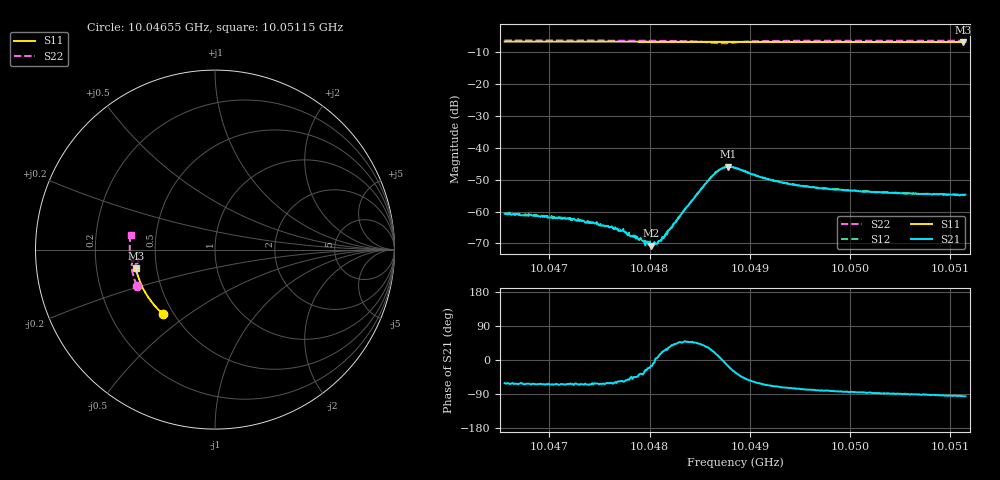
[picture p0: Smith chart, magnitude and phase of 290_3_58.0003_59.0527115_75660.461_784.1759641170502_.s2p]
#  HZ  S  RI  R  50.00
! Rohde & Schwarz Vector Network Analyzer
! Rohde-Schwarz,ZNB20-2Port,1311601062101988,3.16
! Created: UTC 3/21/2024, 1:03:15 AM
! freq[Hz]  re:S11  im:S11  re:S21  im:S21  re:S12  im:S12  re:S22  im:S22
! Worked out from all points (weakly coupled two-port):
!   401 points, 10.04655 GHz to 10.05115 GHz, reference 50 ohm
!   highest |S21| = -45.96 dB at 10.04878 GHz (marker M1); lowest = -70.7 dB at 10.04801 GHz (marker M2)
!   lowest |S11| = -6.9 dB at 10.05113 GHz (marker M3), VSWR 2.65, Z = 19.1 - j5.06 ohm
!   |S11| at or under -10 dB: nowhere
!   |S22| runs from -7.3 to -6.4 dB; largest |S21 - S12| = 0.00036
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1.0046554e10  -0.2888 -0.3595  0.000447 -0.000815  0.000481 -0.0008  -0.4354 -0.2011
1.0046807e10  -0.3012 -0.3482  0.000403 -0.000793  0.000452 -0.000771  -0.4418 -0.1855
1.0047324e10  -0.3255 -0.3242  0.000316 -0.000649  0.000342 -0.000617  -0.4534 -0.1518
1.0047381e10  -0.3281 -0.3214  0.000288 -0.000606  0.000336 -0.000621  -0.4543 -0.148
1.004745e10  -0.3311 -0.318  0.000313 -0.000569  0.000329 -0.000569  -0.4555 -0.1435
1.0047726e10  -0.3431 -0.3042  0.000287 -0.000413  0.000296 -0.000402  -0.4602 -0.1243
1.0047898e10  -0.3502 -0.2952  0.000295 -0.000228  0.000303 -0.000193  -0.4624 -0.1116
1.0047956e10  -0.3526 -0.2924  0.000265 -0.000134  0.000313 -0.000153  -0.463 -0.1073
1.0048013e10  -0.3551 -0.2893  0.000281 -7.9e-05  0.000294 -4.45e-05  -0.4634 -0.1026
1.0048059e10  -0.3568 -0.287  0.000317 2.04e-05  0.000314 -5.57e-06  -0.4638 -0.0991
1.0048094e10  -0.3581 -0.285  0.000343 6.86e-05  0.00034 7.93e-05  -0.4639 -0.0963
1.0048163e10  -0.3607 -0.2815  0.000386 0.000211  0.000381 0.000239  -0.464 -0.0904
1.0048369e10  -0.3686 -0.2703  0.000799 0.00087  0.000739 0.00089  -0.4616 -0.0716
1.0048611e10  -0.3773 -0.257  0.00303 0.00156  0.00296 0.00174  -0.4409 -0.0525
1.0048702e10  -0.3804 -0.2519  0.00453 0.000474  0.00454 0.000763  -0.4285 -0.059
1.0048783e10  -0.3831 -0.2476  0.00484 -0.00139  0.00492 -0.00111  -0.4289 -0.0724
1.0048852e10  -0.3856 -0.2439  0.00408 -0.00256  0.00429 -0.00237  -0.4381 -0.0784
1.0049231e10  -0.3981 -0.2222  0.00111 -0.00285  0.00127 -0.00282  -0.469 -0.0521
1.0049622e10  -0.4093 -0.1991  0.000472 -0.00236  0.000605 -0.00232  -0.4747 -0.0207
1.0050391e10  -0.4278 -0.152  4.29e-05 -0.00196  0.000156 -0.002  -0.4745 0.0337
1.0051126e10  -0.4403 -0.1055  -0.000177 -0.0018  -5.62e-05 -0.00184  -0.4684 0.0825
1.0051149e10  -0.4408 -0.1042  -0.000182 -0.00183  -8.14e-05 -0.00181  -0.468 0.0841
